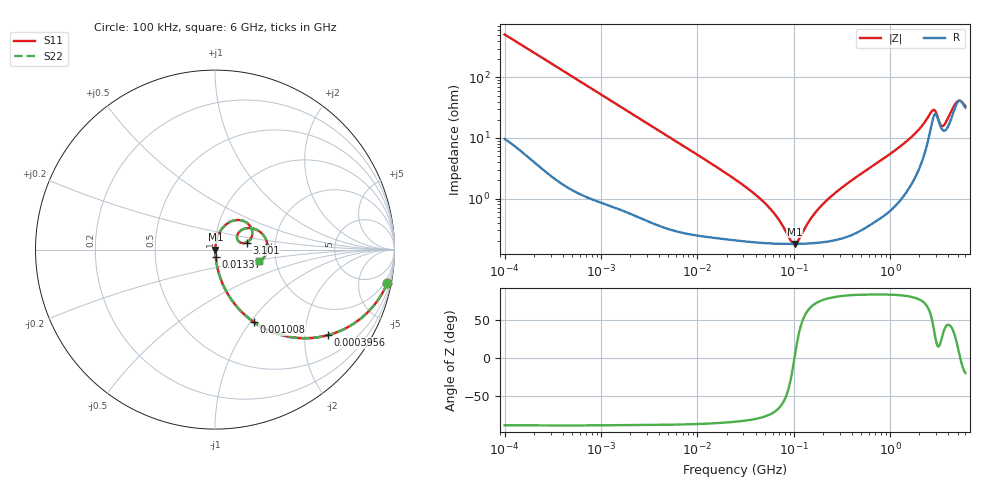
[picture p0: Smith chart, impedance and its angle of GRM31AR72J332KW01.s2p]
!Murata Part Number: GRM31AR72J332KW01
!These Parameters are Measured in Series Mode Connection
!Data Generated on Mar 30, 2021
!  o--ll--o
!Port1  Port2
!  o------o
!Operation Temp=25[degC], DC Bias Voltage=0[V]
!Freq. Start=100[kHz] Stop=6[GHz] 401[Steps]
# Hz S RI R 50
!Freq.(Hz) S11(Real) S11(Imag) S21(Real) S21(Imag) S12(Real) S12(Imag) S22(Real) S22(Imag)
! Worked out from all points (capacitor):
!   401 points, 100 kHz to 6 GHz, reference 50 ohm
!   read as one part in series: C = 3.1 nF near 105.7 kHz
!   lowest |Z| = 178 mohm at 102.4 MHz (marker M1)
!   series resonance near 101.4 MHz, so ESL is about 800 pH
!   S11 on the Smith chart (normalised r, x): 100 kHz: 1, -10; 395.6 kHz: 1.03, -2.62; 1.008 MHz: 1.02, -1.03; 13.37 MHz: 1.00, -0.08; 3.101 GHz: 1.42, +0.12; 6 GHz: 1.63, -0.23
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100000  0.9599 -0.1869  0.0401 0.1869  0.0401 0.1869  0.9599 -0.1869
210148  0.8543 -0.3452  0.1457 0.3452  0.1457 0.3452  0.8543 -0.3452
395611  0.6307 -0.4761  0.3693 0.4761  0.3693 0.4761  0.6307 -0.4761
631452  0.4053 -0.4841  0.5947 0.4841  0.5947 0.4841  0.4053 -0.4841
1007887  0.215 -0.4027  0.785 0.4027  0.785 0.4027  0.215 -0.4027
1795828  0.0832 -0.2661  0.9168 0.2661  0.9168 0.2661  0.0832 -0.2661
3987316  0.0206 -0.1293  0.9794 0.1293  0.9794 0.1293  0.0206 -0.1293
1.337449e7  0.00381 -0.039  0.9962 0.039  0.9962 0.039  0.00381 -0.039
2.517799e7  0.00242 -0.02  0.9976 0.02  0.9976 0.02  0.00242 -0.02
5.438656e7  0.00187 -0.00708  0.9981 0.00708  0.9981 0.00708  0.00187 -0.00708
1.023848e8  0.00178 0.000103  0.9982 -0.000103  0.9982 -0.000103  0.00178 0.000103
1.546735e8  0.00184 0.00466  0.9982 -0.00466  0.9982 -0.00466  0.00184 0.00466
2.832789e8  0.00226 0.0131  0.9977 -0.0131  0.9977 -0.0131  0.00226 0.0131
9.76689e8  0.0088 0.0523  0.9912 -0.0523  0.9912 -0.0523  0.0088 0.0523
1.942633e9  0.0431 0.1217  0.9569 -0.1217  0.9569 -0.1217  0.0431 0.1217
2.628996e9  0.1579 0.1601  0.8421 -0.1601  0.8421 -0.1601  0.1579 0.1601
2.855131e9  0.2075 0.1049  0.7925 -0.1049  0.7925 -0.1049  0.2075 0.1049
3.100717e9  0.1766 0.0393  0.8234 -0.0393  0.8234 -0.0393  0.1766 0.0393
3.461335e9  0.1239 0.0582  0.8761 -0.0582  0.8761 -0.0582  0.1239 0.0582
4.19625e9  0.1776 0.1192  0.8224 -0.1192  0.8224 -0.1192  0.1776 0.1192
4.814911e9  0.2695 0.0813  0.7305 -0.0813  0.7305 -0.0813  0.2695 0.0813
6e9  0.2453 -0.0656  0.7547 0.0656  0.7547 0.0656  0.2453 -0.0656
